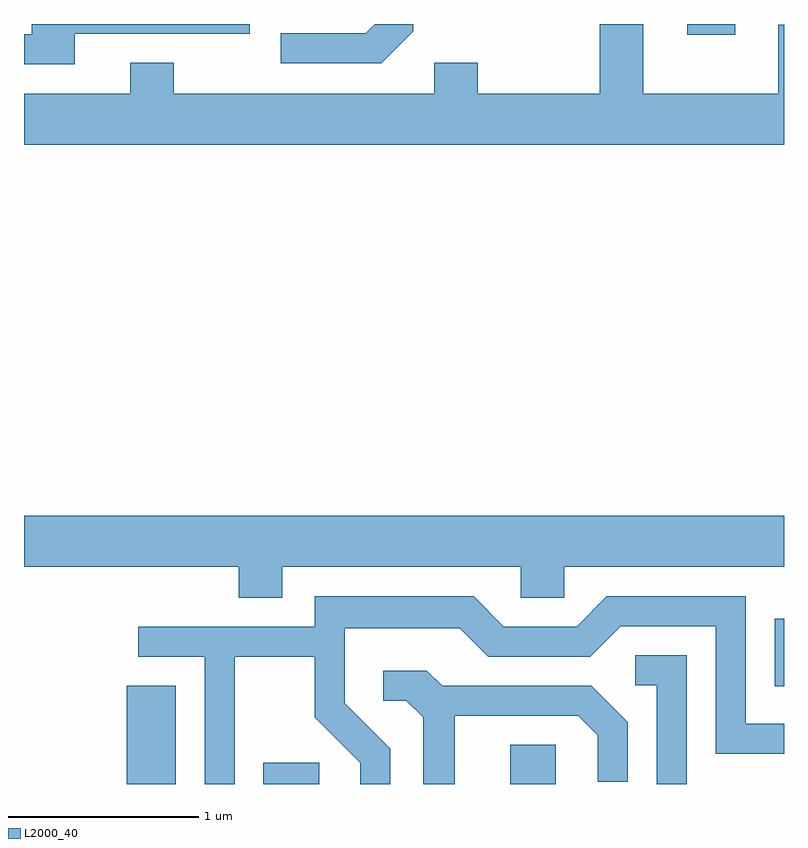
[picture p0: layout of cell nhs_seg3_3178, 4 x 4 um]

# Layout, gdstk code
import gdstk
lib = gdstk.Library(unit=1e-6, precision=1e-09)
def R(c, l, rs):  # rectangles x0, y0, x1, y1
    for r in rs: c.add(gdstk.rectangle(r[:2], r[2:], *l))
def P(c, l, *ps):  # polygons
    for p in ps: c.add(gdstk.Polygon(p, *l))
L2000_40 = (2000, 40)

nhs_seg3_3178 = lib.new_cell('nhs_seg3_3178')
R(nhs_seg3_3178, L2000_40, [(278.151,1215.892,278.409,1216.409), (278.871,1215.892,279.164,1216.004), (280.171,1215.892,280.409,1216.099), (281.561,1216.406,281.611,1216.763), (281.101,1219.836,281.354,1219.892)])
P(nhs_seg3_3178, L2000_40, [(281.611,1219.888),(281.581,1219.888),(281.581,1219.524),(280.869,1219.524),(280.869,1219.892),(280.641,1219.892),(280.641,1219.524),(279.999,1219.524),(279.999,1219.689),(279.771,1219.689),(279.771,1219.524),(278.399,1219.524),(278.399,1219.689),(278.171,1219.689),(278.171,1219.524),(277.611,1219.524),(277.611,1219.256),(281.611,1219.256)],
  [(279.659,1219.854),(279.659,1219.892),(279.456,1219.892),(279.409,1219.844),(278.963,1219.844),(278.963,1219.686),(279.492,1219.686)],
  [(277.879,1219.841),(278.799,1219.841),(278.799,1219.892),(277.651,1219.892),(277.651,1219.839),(277.611,1219.839),(277.611,1219.681),(277.879,1219.681)],
  [(278.969,1217.036),(280.226,1217.036),(280.226,1216.871),(280.454,1216.871),(280.454,1217.036),(281.611,1217.036),(281.611,1217.304),(277.611,1217.304),(277.611,1217.036),(278.741,1217.036),(278.741,1216.871),(278.969,1216.871)],
  [(278.719,1216.561),(279.141,1216.561),(279.141,1216.244),(279.381,1216.004),(279.381,1215.892),(279.539,1215.892),(279.539,1216.077),(279.299,1216.317),(279.299,1216.711),(279.904,1216.711),(280.054,1216.561),(280.592,1216.561),(280.752,1216.721),(281.251,1216.721),(281.251,1216.051),(281.611,1216.051),(281.611,1216.209),(281.409,1216.209),(281.409,1216.879),(280.679,1216.879),(280.519,1216.719),(280.137,1216.719),(279.977,1216.879),(279.141,1216.879),(279.141,1216.719),(278.213,1216.719),(278.213,1216.561),(278.561,1216.561),(278.561,1215.892),(278.719,1215.892)],
  [(281.099,1216.569),(280.828,1216.569),(280.828,1216.411),(280.941,1216.411),(280.941,1215.892),(281.099,1215.892)],
  [(279.879,1216.251),(280.529,1216.251),(280.631,1216.149),(280.631,1215.903),(280.789,1215.903),(280.789,1216.217),(280.597,1216.409),(279.812,1216.409),(279.732,1216.489),(279.503,1216.489),(279.503,1216.331),(279.624,1216.331),(279.711,1216.244),(279.711,1215.892),(279.879,1215.892)])

lib.write_gds('nhs_seg3_3178.gds')
